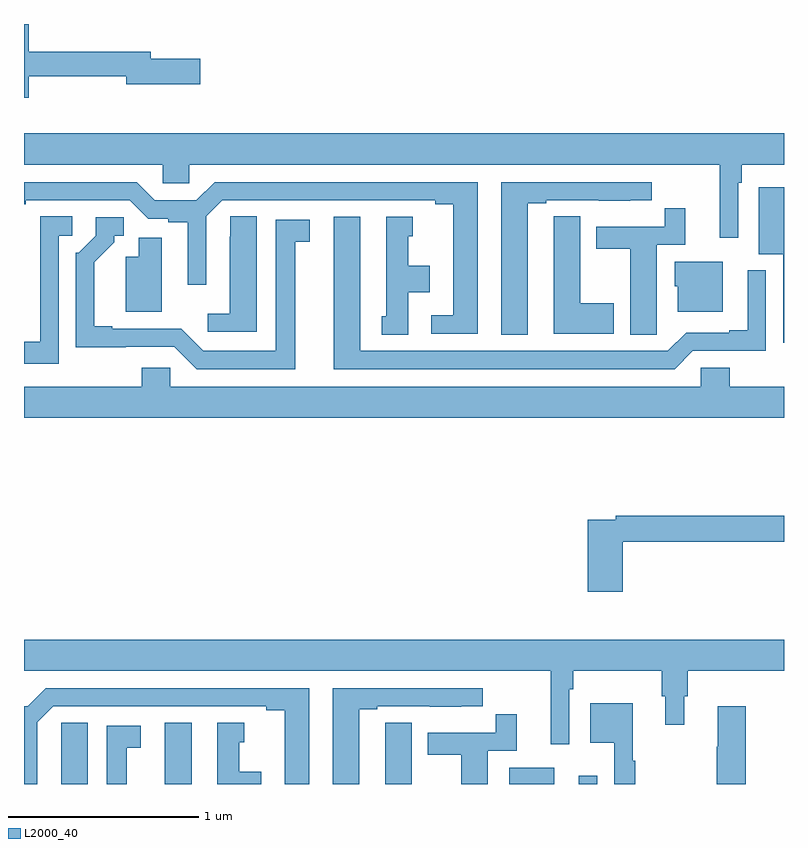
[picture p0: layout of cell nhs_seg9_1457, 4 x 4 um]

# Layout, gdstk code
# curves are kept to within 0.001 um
import gdstk
lib = gdstk.Library(unit=1e-6, precision=1e-09)
def R(c, l, rs):  # rectangles x0, y0, x1, y1
    for r in rs: c.add(gdstk.rectangle(r[:2], r[2:], *l))
def P(c, l, *ps):  # polygons
    for p in ps: c.add(gdstk.Polygon(p, *l))
L2000_40 = (2000, 40)

nhs_seg9_1457 = lib.new_cell('nhs_seg9_1457')
R(nhs_seg9_1457, L2000_40, [(193.742,1186.5,193.882,1186.822), (195.554,1186.5,195.79,1186.585), (195.92,1186.5,196.017,1186.543)])
P(nhs_seg9_1457, L2000_40, [(193.025,1190.226),(193.538,1190.226),(193.538,1190.183),(193.927,1190.183),(193.927,1190.318),(193.666,1190.318),(193.666,1190.354),(193.025,1190.354),(193.025,1190.5),(193,1190.5),(193,1190.112),(193.025,1190.112)],
  [(196.758,1189.664),(196.778,1189.664),(196.778,1189.76),(197,1189.76),(197,1189.924),(193,1189.924),(193,1189.76),(193.731,1189.76),(193.731,1189.662),(193.869,1189.662),(193.869,1189.76),(196.661,1189.76),(196.661,1189.374),(196.758,1189.374)],
  [(195.388,1189.668),(194.003,1189.668),(193.907,1189.572),(193.689,1189.572),(193.593,1189.668),(193,1189.668),(193,1189.552),(193.009,1189.552),(193.009,1189.572),(193.557,1189.572),(193.653,1189.476),(193.758,1189.476),(193.758,1189.456),(193.862,1189.456),(193.862,1189.128),(193.959,1189.128),(193.959,1189.488),(194.043,1189.572),(195.164,1189.572),(195.164,1189.552),(195.26,1189.552),(195.26,1188.966),(195.144,1188.966),(195.144,1188.87),(195.388,1188.87)],
  [(195.652,1189.557),(195.748,1189.557),(195.748,1189.572),(196.024,1189.572),(196.024,1189.571),(196.19,1189.571),(196.19,1189.572),(196.303,1189.572),(196.303,1189.668),(195.512,1189.668),(195.512,1188.865),(195.652,1188.865)],
  [(197,1189.642),(196.868,1189.642),(196.868,1189.289),(196.995,1189.289),(196.995,1188.822),(197,1188.822)],
  [(196.329,1188.976),(196.33,1188.976),(196.33,1189.338),(196.481,1189.338),(196.481,1189.531),(196.372,1189.531),(196.372,1189.434),(196.013,1189.434),(196.013,1189.318),(196.19,1189.318),(196.19,1188.865),(196.329,1188.865)],
  [(194.224,1189.487),(194.085,1189.487),(194.085,1189.379),(194.084,1189.379),(194.084,1188.976),(193.968,1188.976),(193.968,1188.879),(194.224,1188.879)],
  [(196.105,1189.029),(195.928,1189.029),(195.928,1189.487),(195.789,1189.487),(195.789,1189.379),(195.788,1189.379),(195.788,1188.869),(196.105,1188.869)],
  [(193.182,1189.386),(193.255,1189.386),(193.255,1189.487),(193.085,1189.487),(193.085,1188.827),(193,1188.827),(193,1188.711),(193.182,1188.711)],
  [(196.521,1188.78),(196.905,1188.78),(196.905,1189.204),(196.808,1189.204),(196.808,1188.889),(196.712,1188.889),(196.712,1188.876),(196.485,1188.876),(196.389,1188.78),(194.77,1188.78),(194.77,1189.486),(194.63,1189.486),(194.63,1188.684),(196.425,1188.684)],
  [(195.022,1189.088),(195.136,1189.088),(195.136,1189.228),(195.022,1189.228),(195.022,1189.383),(195.046,1189.383),(195.046,1189.486),(194.906,1189.486),(194.906,1188.963),(194.882,1188.963),(194.882,1188.865),(195.022,1188.865)],
  [(194.428,1189.354),(194.503,1189.354),(194.503,1189.47),(194.324,1189.47),(194.324,1188.78),(193.944,1188.78),(193.827,1188.897),(193.465,1188.897),(193.465,1188.91),(193.369,1188.91),(193.369,1189.246),(193.474,1189.351),(193.474,1189.386),(193.524,1189.386),(193.524,1189.482),(193.377,1189.482),(193.377,1189.386),(193.287,1189.296),(193.272,1189.296),(193.272,1188.8),(193.791,1188.801),(193.908,1188.684),(194.428,1188.684)],
  [(193.726,1189.374),(193.604,1189.374),(193.604,1189.276),(193.535,1189.276),(193.535,1188.986),(193.726,1188.986)],
  [(196.678,1189.249),(196.424,1189.249),(196.424,1189.119),(196.442,1189.119),(196.442,1188.986),(196.678,1188.986)],
  [(197,1188.592),(196.715,1188.592),(196.715,1188.69),(196.563,1188.69),(196.563,1188.592),(193.77,1188.592),(193.77,1188.69),(193.619,1188.69),(193.619,1188.592),(193,1188.592),(193,1188.428),(197,1188.428)],
  [(196.151,1187.776),(197,1187.776),(197,1187.912),(196.114,1187.912),(196.114,1187.892),(195.968,1187.892),(195.968,1187.511),(196.151,1187.511)],
  [(195.87,1187),(195.89,1187),(195.89,1187.096),(196.357,1187.096),(196.357,1186.962),(196.376,1186.962),(196.376,1186.812),(196.474,1186.812),(196.474,1186.962),(196.493,1186.962),(196.493,1187.096),(197,1187.096),(197,1187.26),(193,1187.26),(193,1187.096),(195.773,1187.096),(195.773,1186.71),(195.87,1186.71)],
  [(194.764,1186.893),(194.86,1186.893),(194.86,1186.908),(195.136,1186.908),(195.136,1186.907),(195.302,1186.907),(195.302,1186.908),(195.415,1186.908),(195.415,1187.004),(194.624,1187.004),(194.624,1186.5),(194.764,1186.5)],
  [(193.071,1186.824),(193.155,1186.908),(194.276,1186.908),(194.276,1186.888),(194.372,1186.888),(194.372,1186.5),(194.5,1186.5),(194.5,1187.004),(193.115,1187.004),(193.019,1186.908),(193,1186.908),(193,1186.5),(193.071,1186.5)],
  [(196.216,1186.622),(196.204,1186.622),(196.204,1186.924),(195.98,1186.924),(195.98,1186.718),(196.107,1186.718),(196.107,1186.5),(196.216,1186.5)],
  [(196.799,1186.909),(196.652,1186.909),(196.652,1186.696),(196.645,1186.696),(196.645,1186.5),(196.799,1186.5)],
  [(195.442,1186.674),(195.593,1186.674),(195.593,1186.867),(195.484,1186.867),(195.484,1186.77),(195.125,1186.77),(195.125,1186.654),(195.302,1186.654),(195.302,1186.5),(195.442,1186.5)],
  [(193.336,1186.823),(193.197,1186.823),(193.197,1186.715),(193.196,1186.715),(193.196,1186.5),(193.336,1186.5)],
  [(195.04,1186.823),(194.901,1186.823),(194.901,1186.715),(194.9,1186.715),(194.9,1186.5),(195.04,1186.5)],
  [(194.248,1186.564),(194.134,1186.564),(194.134,1186.719),(194.158,1186.719),(194.158,1186.822),(194.018,1186.822),(194.018,1186.5),(194.248,1186.5)],
  [(193.54,1186.69),(193.615,1186.69),(193.615,1186.806),(193.436,1186.806),(193.436,1186.5),(193.54,1186.5)])

lib.write_gds('nhs_seg9_1457.gds')
